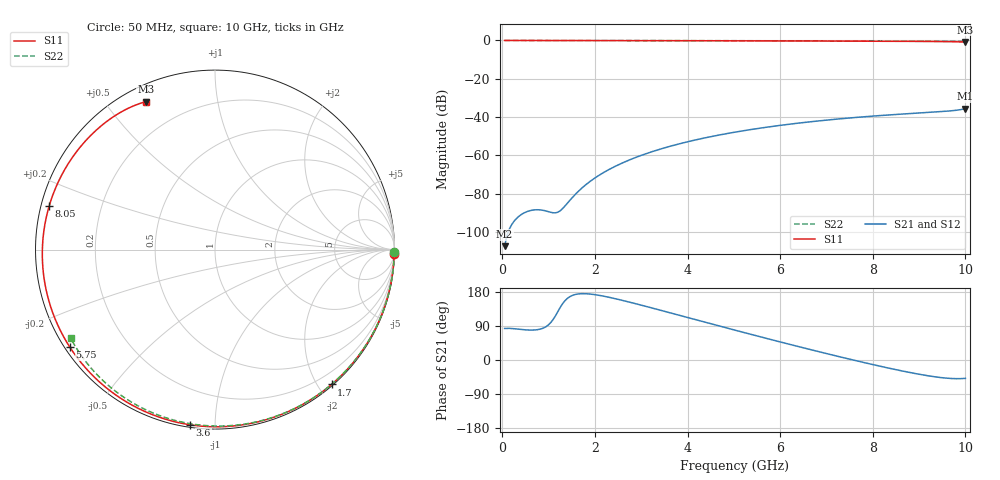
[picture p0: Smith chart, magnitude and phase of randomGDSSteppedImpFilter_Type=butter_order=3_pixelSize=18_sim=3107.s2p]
! freq	dB(S11)	phase(S11)	dB(S12)	phase(S12)
!  dB(S21)	phase(S21)	dB(S22)	phase(S22)
!S-par simulation data
#  GHz  S  DB  R 50
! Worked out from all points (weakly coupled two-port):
!   200 points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, 50 MHz to 10 GHz, reference 50 ohm
!   highest |S21| = -35.64 dB at 10 GHz (marker M1); lowest = -107.5 dB at 50 MHz (marker M2)
!   lowest |S11| = -0.8 dB at 10 GHz (marker M3), VSWR 21.16, Z = 3.32 + j31.7 ohm
!   |S11| at or under -10 dB: nowhere
!   |S22| runs from -0.5 to 0.0 dB; largest |S21 - S12| = 0
!   S11 on the Smith chart (normalised r, x): 50 MHz: 5, -76; 1.7 GHz: 0.02, -2.19; 3.6 GHz: 0.01, -0.87; 5.75 GHz: 0.01, -0.31; 8.05 GHz: 0.02, +0.13; 10 GHz: 0.07, +0.63
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0.05  -0.02 -1.5  -107.46 83.2  -107.46 83.2  -0.01 -0.9
0.75  -0.03 -22.1  -88.43 79.9  -88.43 79.9  -0.02 -12.8
1.55  -0.06 -45.0  -81.07 172.0  -81.07 172.0  -0.03 -26.3
1.6  -0.06 -46.4  -79.82 173.5  -79.82 173.5  -0.03 -27.2
1.7  -0.06 -49.1  -77.51 174.9  -77.51 174.9  -0.04 -28.8
1.75  -0.06 -50.5  -76.44 175.1  -76.44 175.1  -0.04 -29.7
2.05  -0.07 -58.7  -71.04 171.5  -71.04 171.5  -0.04 -34.6
2.45  -0.09 -69.3  -65.62 161.5  -65.62 161.5  -0.05 -41.2
2.9  -0.10 -80.9  -60.94 147.9  -60.94 147.9  -0.06 -48.4
3.4  -0.12 -93.3  -56.84 131.9  -56.84 131.9  -0.08 -56.4
3.6  -0.12 -98.1  -55.44 125.3  -55.44 125.3  -0.08 -59.5
4.3  -0.15 -114.4  -51.28 102.3  -51.28 102.3  -0.10 -70.2
5.05  -0.19 -131.0  -47.79 77.9  -47.79 77.9  -0.13 -81.3
5.75  -0.22 -146.0  -45.18 55.6  -45.18 55.6  -0.15 -91.4
6.7  -0.29 -166.0  -42.36 26.0  -42.36 26.0  -0.20 -104.6
7.4  -0.34 179.3  -40.70 5.1  -40.70 5.1  -0.25 -114.1
8.05  -0.40 165.3  -39.43 -13.5  -39.43 -13.5  -0.30 -122.8
8.35  -0.43 158.6  -38.91 -21.6  -38.91 -21.6  -0.33 -126.7
8.85  -0.48 147.1  -38.14 -34.2  -38.14 -34.2  -0.37 -133.3
9.3  -0.54 136.0  -37.48 -43.6  -37.48 -43.6  -0.42 -139.2
9.7  -0.64 125.0  -36.74 -48.8  -36.74 -48.8  -0.47 -144.4
10  -0.82 115.1  -35.64 -48.5  -35.64 -48.5  -0.50 -148.4
